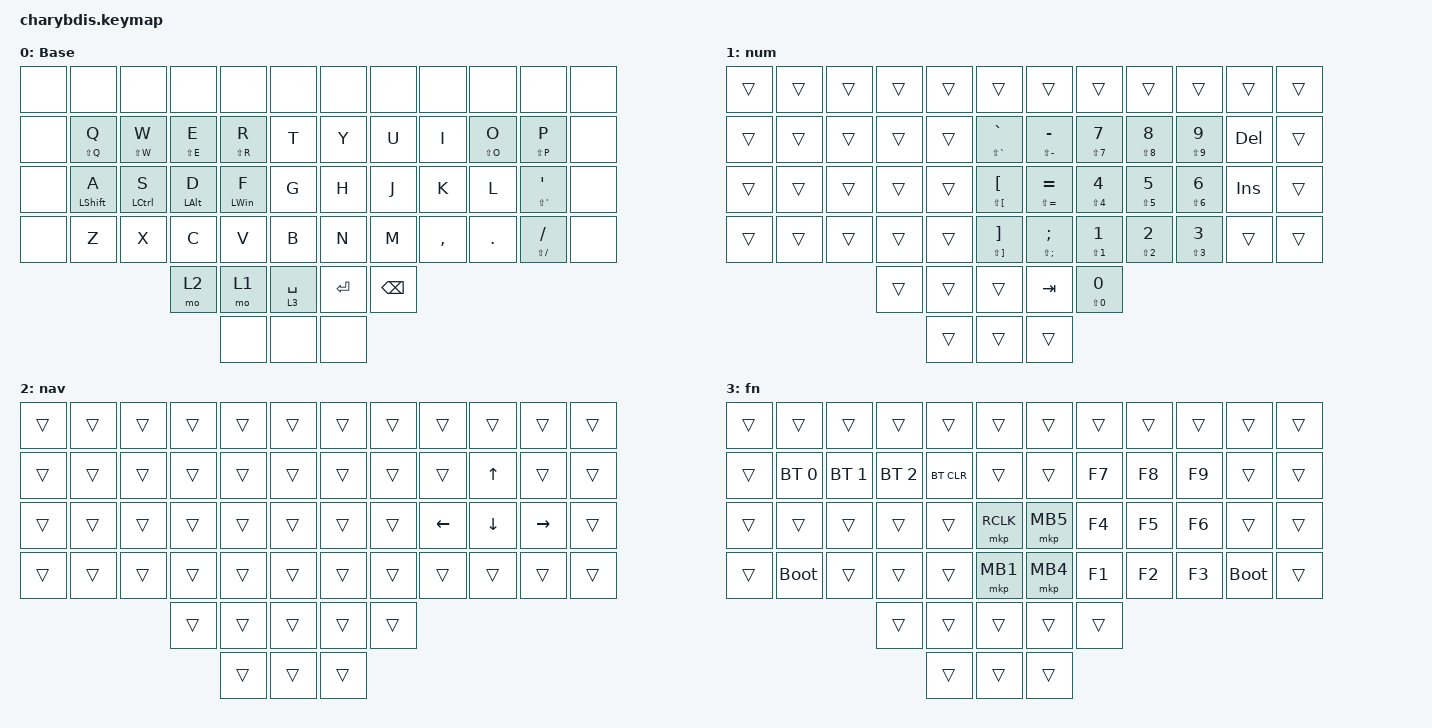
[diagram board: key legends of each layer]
#include <behaviors.dtsi>
#include <dt-bindings/zmk/bt.h>
#include <dt-bindings/zmk/keys.h>
#include <dt-bindings/zmk/mouse.h>

&lt { flavor = "tap-preferred"; };

&mt {
    flavor = "tap-preferred";
    tapping-term-ms = <185>;
};

&sk {
};

&bootloader {
};

/ {
    combos {
        compatible = "zmk,combos";

        comb_bubble {
            bindings = <&bubble_macro>;
            key-positions = <21 22>;
            timeout-ms = <50>;
        };

        comb_lang1 {
            bindings = <&kp LANGUAGE_1>;
            key-positions = <45 46>;
            timeout-ms = <50>;
        };
    };

    macros {
        red_macro: red_macro {
            compatible = "zmk,behavior-macro";
            #binding-cells = <0>;
            bindings = <&kp LC(M) &kp R>;
            label = "RED_MACRO";
        };

        black_macro: black_macro {
            compatible = "zmk,behavior-macro";
            #binding-cells = <0>;
            bindings = <&kp LC(M) &kp K>;
            label = "BLACK_MACRO";
        };

        add_macro: add_macro {
            compatible = "zmk,behavior-macro";
            #binding-cells = <0>;
            bindings = <&kp LC(N) &kp N>;
            label = "ADD_MACRO";
        };

        bubble_macro: bubble_macro {
            compatible = "zmk,behavior-macro";
            #binding-cells = <0>;
            bindings = <&kp LEFT_PARENTHESIS &kp RIGHT_PARENTHESIS &kp LEFT>;
            label = "BUBBLE_MACRO";
        };

        table_macro: table_macro {
            compatible = "zmk,behavior-macro";
            #binding-cells = <0>;
            bindings = <&kp LC(N) &kp T>;
            label = "TABLE_MACRO";
        };
    };

    keymap {
        compatible = "zmk,keymap";

        Base {
            bindings = <
&none  &none             &none        &none           &none           &none          &none      &none          &none      &none        &none                &none
&none  &mt LS(Q) Q       &mt LS(W) W  &mt LS(E) E     &mt LS(R) R     &kp T          &kp Y      &kp U          &kp I      &mt LS(O) O  &mt LS(P) P          &none
&none  &mt LEFT_SHIFT A  &mt LCTRL S  &mt LEFT_ALT D  &mt LEFT_WIN F  &kp G          &kp H      &kp J          &kp K      &kp L        &mt LS(SQT) SQT      &none
&none  &kp Z             &kp X        &kp C           &kp V           &kp B          &kp N      &kp M          &kp COMMA  &kp DOT      &mt LS(SLASH) SLASH  &none
                                      &mo 2           &mo 1           &lt 3 SPACE    &kp ENTER  &kp BACKSPACE
                                                      &none           &none          &none
            >;

            trackball-bindings = <&tmv_coarse>;
        };

        num {
            bindings = <
&trans  &trans  &trans  &trans  &trans  &trans                               &trans                       &trans                     &trans                     &trans                     &trans   &trans
&trans  &trans  &trans  &trans  &trans  &mt LS(GRAVE) GRAVE                  &mt LS(MINUS) MINUS          &mt LS(N7) N7              &mt LS(N8) N8              &mt LS(N9) N9              &kp DEL  &trans
&trans  &trans  &trans  &trans  &trans  &mt LS(LEFT_BRACKET) LEFT_BRACKET    &mt LS(EQUAL) EQUAL          &mt LS(NUMBER_4) NUMBER_4  &mt LS(N5) N5              &mt LS(NUMBER_6) NUMBER_6  &kp INS  &trans
&trans  &trans  &trans  &trans  &trans  &mt LS(RIGHT_BRACKET) RBKT           &mt LS(SEMICOLON) SEMICOLON  &mt LS(NUMBER_1) NUMBER_1  &mt LS(NUMBER_2) NUMBER_2  &mt LS(NUMBER_3) NUMBER_3  &trans   &trans
                        &trans  &trans  &trans                               &kp TAB                      &mt LS(N0) N0
                                &trans  &trans                               &trans
            >;
        };

        nav {
            bindings = <
&trans  &trans  &trans  &trans  &trans  &trans    &trans  &trans  &trans    &trans        &trans     &trans
&trans  &trans  &trans  &trans  &trans  &trans    &trans  &trans  &trans    &kp UP_ARROW  &trans     &trans
&trans  &trans  &trans  &trans  &trans  &trans    &trans  &trans  &kp LEFT  &kp DOWN      &kp RIGHT  &trans
&trans  &trans  &trans  &trans  &trans  &trans    &trans  &trans  &trans    &trans        &trans     &trans
                        &trans  &trans  &trans    &trans  &trans
                                &trans  &trans    &trans
            >;
        };

        fn {
            bindings = <
&trans  &trans        &trans        &trans        &trans      &trans       &trans    &trans  &trans  &trans  &trans       &trans
&trans  &bt BT_SEL 0  &bt BT_SEL 1  &bt BT_SEL 2  &bt BT_CLR  &trans       &trans    &kp F7  &kp F8  &kp F9  &trans       &trans
&trans  &trans        &trans        &trans        &trans      &mkp RCLK    &mkp MB5  &kp F4  &kp F5  &kp F6  &trans       &trans
&trans  &bootloader   &trans        &trans        &trans      &mkp MB1     &mkp MB4  &kp F1  &kp F2  &kp F3  &bootloader  &trans
                                    &trans        &trans      &trans       &trans    &trans
                                                  &trans      &trans       &trans
            >;
        };
    };
};
